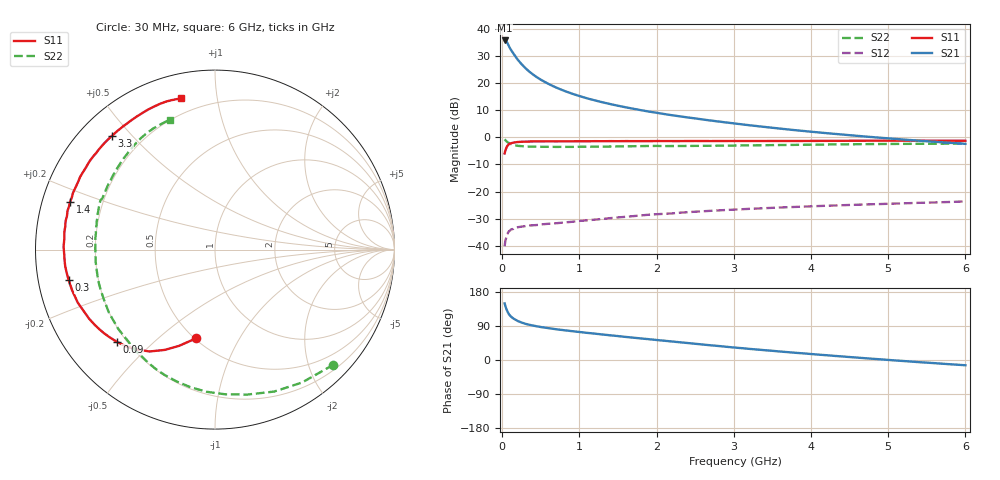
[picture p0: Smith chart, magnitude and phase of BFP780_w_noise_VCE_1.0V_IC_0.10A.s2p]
! Infineon Technologies  Discrete & RF Semiconductors
! BFP780
! VCE =  1.0 V,  IC = 0.10 A
! Common Emitter S-Parameters:  Jul 2015
# GHz  S  MA  R  50
!  f  S11  S21  S12  S22
! GHz  MAG  ANG  MAG  ANG  MAG  ANG  MAG  ANG
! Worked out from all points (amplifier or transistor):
!   75 points, 30 MHz to 6 GHz, reference 50 ohm
!   highest |S21| = 35.7 dB at 30 MHz (marker M1)
!   |S21| within 3 dB of that: start of sweep to 102.4 MHz
!   unconditionally stable (mu >= 1): 1.611 GHz to end of sweep
!   at 150 MHz: K = 0.16, MSG = 32.0 dB, |S12| = -33.4 dB
!   at 2.3 GHz: K = 1.16, MAG = 15.3 dB, |S12| = -27.8 dB
!   at 6 GHz: K = 1.57, MAG = 6.2 dB, |S12| = -23.6 dB
!   lowest NFmin = 2.08 dB at 450 MHz
!   S11 on the Smith chart (normalised r, x): 30 MHz: 0.51, -0.68; 90 MHz: 0.16, -0.39; 300 MHz: 0.09, -0.10; 1.4 GHz: 0.08, +0.16; 3.3 GHz: 0.09, +0.44; 6 GHz: 0.12, +0.79
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0.03  0.5047 -101.9  60.73 149.4  0.0099 62.6  0.9204 -44.2
0.04  0.5727 -110.5  60.14 142.4  0.0125 58.7  0.8851 -56.8
0.05  0.6242 -116.5  58.98 136.2  0.014 60.5  0.8568 -67.4
0.06  0.6745 -122.7  56.51 131.1  0.0164 44.7  0.8274 -77.5
0.08  0.7328 -132.7  49.64 122.8  0.0182 41.5  0.7934 -93.5
0.09  0.7508 -136.9  46.33 119.8  0.0188 39.5  0.7781 -100.3
0.11  0.7745 -143.1  41.22 115.1  0.0199 32.1  0.7528 -111.9
0.15  0.8005 -151.4  33.91 108.8  0.0214 27.8  0.7169 -127.8
0.2  0.8198 -158.9  26.88 102.9  0.0221 23.9  0.697 -140.6
0.25  0.8278 -164.1  22.22 98.8  0.0227 20.9  0.6877 -149.2
0.3  0.8328 -168.2  18.74 95.5  0.0232 20.5  0.679 -155.4
0.45  0.8403 -175.9  12.72 88.8  0.0243 20.0  0.6713 -166.9
0.6  0.8438 178.9  9.597 84.0  0.0256 21.1  0.6684 -174.0
0.8  0.8448 173.6  7.196 78.6  0.027 22.7  0.6672 179.5
1.1  0.8457 167.2  5.214 71.6  0.0296 24.8  0.6698 172.2
1.4  0.8502 161.7  4.09 65.1  0.0325 25.5  0.6776 166.6
2.1  0.8531 150.3  2.682 50.8  0.039 25.4  0.6892 155.5
3.1  0.8554 135.0  1.735 31.3  0.0474 21.2  0.7086 140.4
3.3  0.8551 132.1  1.609 27.6  0.0488 19.9  0.7133 137.8
4.1  0.8591 121.4  1.23 14.1  0.0543 15.8  0.7336 128.3
5.1  0.8681 110.6  0.933 -1.3  0.0603 9.9  0.7553 118.0
6  0.8639 102.8  0.758 -13.9  0.066 4.4  0.7664 109.0
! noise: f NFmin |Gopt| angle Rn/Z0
0.45  2.08  0.55  -177  0.08
0.9  2.13  0.57  -165  0.09
1.5  2.18  0.58  -158  0.11
1.8  2.37  0.58  -154  0.13
2.4  2.5  0.61  -143  0.2
3  2.79  0.65  -132  0.28
3.5  3.26  0.67  -121  0.43
